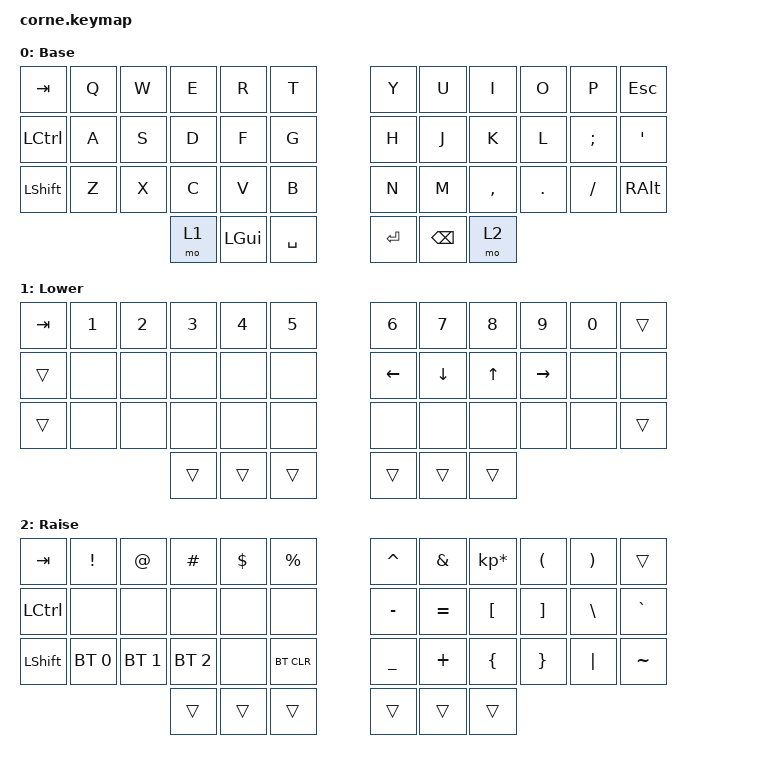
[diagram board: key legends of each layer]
/*
 * Copyright (c) 2020 The ZMK Contributors
 *
 * SPDX-License-Identifier: MIT
 */

#include <behaviors.dtsi>
#include <dt-bindings/zmk/keys.h>
#include <dt-bindings/zmk/bt.h>

/ {
        keymap {
                compatible = "zmk,keymap";

                default_layer {
// -----------------------------------------------------------------------------------------
// |  TAB |  Q  |  W  |  E  |  R  |  T  |   |  Y  |  U   |  I  |  O  |  P  | ESC  |
// | CTRL |  A  |  S  |  D  |  F  |  G  |   |  H  |  J   |  K  |  L  |  ;  |  '   |
// | SHFT |  Z  |  X  |  C  |  V  |  B  |   |  N  |  M   |  ,  |  .  |  /  | ALT  |
//                    | LWR | GUI | SPC |   | ENT | BKSP | RSE |
                        label = "Base";
                        bindings = <
   &kp TAB   &kp Q &kp W &kp E &kp R &kp T   &kp Y &kp U  &kp I     &kp O   &kp P    &kp ESC
   &kp LCTRL &kp A &kp S &kp D &kp F &kp G   &kp H &kp J  &kp K     &kp L   &kp SEMI &kp SQT
   &kp LSHFT &kp Z &kp X &kp C &kp V &kp B   &kp N &kp M  &kp COMMA &kp DOT &kp FSLH &kp RALT
                   &mo 1 &kp LGUI &kp SPACE  &kp RET &kp BSPC &mo 2
                        >;
                };
                lower_layer {
// -----------------------------------------------------------------------------------------
// |  TAB |  1  |  2  |  3  |  4  |  5  |   |  6  |  7  |  8  |  9  |  0  | ESC |
// | CTRL |     |     |     |     |     |   | LFT | DWN |  UP | RGT |     |     |
// | SHFT |     |     |     |     |     |   |     |     |     |     |     | ALT |
//                    | LWR | GUI | SPC |   | ENT | BKSP| RSE |
                        label = "Lower";
                        bindings = <
   &kp TAB &kp N1  &kp N2 &kp N3  &kp N4 &kp N5  &kp N6   &kp N7   &kp N8 &kp N9     &kp N0 &trans
   &trans  &none   &none  &none   &none  &none   &kp LEFT &kp DOWN &kp UP &kp RIGHT  &none &none
   &trans  &none   &none  &none   &none  &none   &none    &none    &none  &none      &none &trans
                          &trans  &trans &trans  &trans   &trans   &trans
                        >;
                };

                raise_layer {
// -----------------------------------------------------------------------------------------
// | TAB  |  !  |  @  |  #  |  $  |  %  |   |  ^  |  &  |  *  |  (  |  )  | BKSP |
// | CTRL |     |     |     |     |     |   |  -  |  =  |  [  |  ]  |  \  |  `   |
// | SHFT |     |     |     |     |     |   |  _  |  +  |  {  |  }  | "|" |  ~   |
//                    | LWR | GUI | SPC |   | ENT | BKSP| RSE |
                        label = "Raise";
                        bindings = <
   &kp TAB  &kp EXCL &kp AT &kp HASH &kp DLLR &kp PRCNT &kp CARET &kp AMPS  &kp KP_MULTIPLY &kp LPAR &kp RPAR &trans
   &kp LCTRL   &none    &none  &none    &none    &none     &kp MINUS &kp EQUAL &kp LBKT        &kp RBKT &kp BSLH &kp GRAVE
   &kp LSHFT   &bt BT_SEL 0 &bt BT_SEL 1 &bt BT_SEL 2 &none    &bt BT_CLR &kp UNDER &kp PLUS  &kp LBRC        &kp RBRC &kp PIPE &kp TILDE
                    	    &trans   &trans   &trans    &trans    &trans    &trans
                        >;
                };
        };
};
